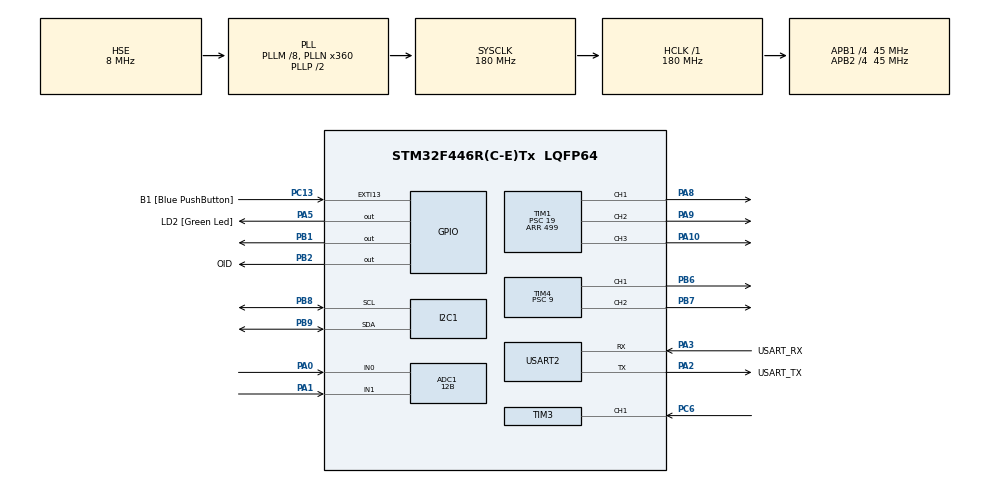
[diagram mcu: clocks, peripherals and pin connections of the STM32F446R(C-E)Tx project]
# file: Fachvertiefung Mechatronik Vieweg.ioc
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Mcu.Family=STM32F4
PH0-OSC_IN.Signal=RCC_OSC_IN
RCC.CortexFreq_Value=180000000
NVIC.I2C1_EV_IRQn=true\:0\:0\:false\:false\:true\:true\:true
ADC1.ContinuousConvMode=ENABLE
Dma.I2C1_TX.1.Mode=DMA_NORMAL
PA14.GPIO_Label=TCK
PC13.GPIO_Label=B1 [Blue PushButton]
RCC.SYSCLKSource=RCC_SYSCLKSOURCE_PLLCLK
ProjectManager.StackSize=0x400
Dma.I2C1_TX.1.Direction=DMA_MEMORY_TO_PERIPH
NVIC.ADC_IRQn=true\:0\:0\:false\:false\:true\:true\:true
TIM1.Prescaler=19
RCC.HCLKFreq_Value=180000000
ADC1.Resolution=ADC_RESOLUTION_12B
RCC.APB2TimFreq_Value=90000000
TIM3.Period=59999
PB6.Signal=S_TIM4_CH1
ADC1.InjNumberOfConversion=0
Dma.I2C1_RX.0.PeriphDataAlignment=DMA_PDATAALIGN_BYTE
Dma.I2C1_TX.1.PeriphInc=DMA_PINC_DISABLE
NVIC.DMA2_Stream0_IRQn=true\:0\:0\:false\:false\:true\:false\:true
RCC.AHBFreq_Value=180000000
PH0-OSC_IN.Mode=HSE-External-Oscillator
Dma.I2C1_RX.0.Priority=DMA_PRIORITY_LOW
ADC1.Channel-0\#ChannelRegularConversion=ADC_CHANNEL_0
RCC.HSE_VALUE=8000000
TIM3.Channel-Input_Capture1_from_TI1=TIM_CHANNEL_1
PB2.Signal=GPIO_Output
ADC1.ScanConvMode=ENABLE
Dma.I2C1_RX.0.Mode=DMA_NORMAL
Dma.ADC1.2.MemDataAlignment=DMA_MDATAALIGN_WORD
PC14-OSC32_IN.Mode=LSE-External-Oscillator
TIM1.Channel-PWM\ Generation1\ CH1=TIM_CHANNEL_1
PA14.Mode=Serial_Wire
TIM3.Prescaler=2999
Dma.ADC1.2.Direction=DMA_PERIPH_TO_MEMORY
SH.S_TIM4_CH2.0=TIM4_CH2,PWM Generation2 CH2
PB7.Signal=S_TIM4_CH2
PA8.Signal=S_TIM1_CH1
SH.ADCx_IN0.0=ADC1_IN0,IN0
Dma.I2C1_RX.0.Direction=DMA_PERIPH_TO_MEMORY
SH.S_TIM3_CH1.0=TIM3_CH1,Input_Capture1_from_TI1
TIM4.Period=499
NVIC.I2C1_ER_IRQn=true\:0\:0\:false\:false\:true\:true\:true
VP_TIM1_VS_ClockSourceINT.Mode=Internal
ADC1.SamplingTime-0\#ChannelRegularConversion=ADC_SAMPLETIME_15CYCLES
RCC.FLatency-AdvancedSettings=FLASH_LATENCY_5
PH1-OSC_OUT.Mode=HSE-External-Oscillator
PB9.Signal=I2C1_SDA
Mcu.Package=LQFP64
PB1.Signal=GPIO_Output
USART2.VirtualMode=VM_ASYNC
PA2.GPIO_Label=USART_TX
PA10.Signal=S_TIM1_CH3
TIM8.Prescaler=199
RCC.APB2CLKDivider=RCC_HCLK_DIV4
SH.ADCx_IN1.0=ADC1_IN1,IN1
SH.S_TIM4_CH1.0=TIM4_CH1,PWM Generation1 CH1
Dma.Request2=ADC1
Dma.Request1=I2C1_TX
RCC.APB1TimFreq_Value=90000000
NVIC.DMA1_Stream0_IRQn=true\:0\:0\:false\:false\:true\:false\:true
TIM1.Period=499
Dma.Request0=I2C1_RX
NVIC.DMA1_Stream6_IRQn=true\:0\:0\:false\:false\:true\:false\:true
ADC1.EOCSelection=ADC_EOC_SEQ_CONV
Dma.ADC1.2.Mode=DMA_CIRCULAR
PA3.Signal=USART2_RX
PB3.GPIO_Label=SWO
Dma.I2C1_TX.1.PeriphDataAlignment=DMA_PDATAALIGN_BYTE
RCC.PLLSourceVirtual=RCC_PLLSOURCE_HSE
TIM4.Channel-PWM\ Generation1\ CH1=TIM_CHANNEL_1
PC15-OSC32_OUT.Mode=LSE-External-Oscillator
Dma.I2C1_RX.0.PeriphInc=DMA_PINC_DISABLE
Dma.I2C1_RX.0.MemDataAlignment=DMA_MDATAALIGN_BYTE
ADC1.Rank-0\#ChannelRegularConversion=1
PC13.Signal=GPXTI13
Dma.ADC1.2.PeriphDataAlignment=DMA_PDATAALIGN_WORD
PC6.Signal=S_TIM3_CH1
ADC1.DiscontinuousConvMode=DISABLE
ADC1.ExternalTrigConvEdge=ADC_EXTERNALTRIGCONVEDGE_NONE
RCC.APB1CLKDivider=RCC_HCLK_DIV4
PC14-OSC32_IN.Signal=RCC_OSC32_IN
PA0-WKUP.Signal=ADCx_IN0
PA3.Mode=Asynchronous
PA13.Signal=SYS_JTMS-SWDIO
Dma.ADC1.2.MemInc=DMA_MINC_ENABLE
SH.S_TIM1_CH1.0=TIM1_CH1,PWM Generation1 CH1
ProjectManager.TargetToolchain=STM32CubeIDE
I2C1.I2C_Mode=I2C_Fast
PB9.Mode=I2C
PA9.Signal=S_TIM1_CH2
ADC1.Channel-1\#ChannelRegularConversion=ADC_CHANNEL_1
TIM1.Channel-PWM\ Generation2\ CH2=TIM_CHANNEL_2
Dma.I2C1_RX.0.MemInc=DMA_MINC_ENABLE
Dma.I2C1_TX.1.Instance=DMA1_Stream6
VP_TIM8_VS_ClockSourceINT.Mode=Internal
RCC.USBFreq_Value=180000000
TIM4.Prescaler=9
PC15-OSC32_OUT.Signal=RCC_OSC32_OUT
PA1.Signal=ADCx_IN1
PA5.Signal=GPIO_Output
board=NUCLEO-F446RE
RCC.VCOOutputFreq_Value=360000000
Dma.I2C1_TX.1.Priority=DMA_PRIORITY_LOW
NVIC.TIM3_IRQn=true\:0\:0\:false\:false\:true\:true\:true
ADC1.EnableAnalogWatchDog=false
Dma.I2C1_TX.1.FIFOMode=DMA_FIFOMODE_DISABLE
TIM4.Channel-PWM\ Generation2\ CH2=TIM_CHANNEL_2
RCC.APB2Freq_Value=45000000
SH.S_TIM1_CH2.0=TIM1_CH2,PWM Generation2 CH2
Dma.I2C1_TX.1.MemInc=DMA_MINC_ENABLE
TIM3.ICPolarity_CH1=TIM_INPUTCHANNELPOLARITY_FALLING
PH1-OSC_OUT.Signal=RCC_OSC_OUT
Dma.I2C1_TX.1.MemDataAlignment=DMA_MDATAALIGN_BYTE
ADC1.DMAContinuousRequests=ENABLE
ADC1.NbrOfConversion=2
PA13.Mode=Serial_Wire
Mcu.Name=STM32F446R(C-E)Tx
PA2.Signal=USART2_TX
PA13.GPIO_Label=TMS
Dma.ADC1.2.Instance=DMA2_Stream0
ADC1.ExternalTrigConv=ADC_SOFTWARE_START
TIM8.Period=4000
RCC.48MHZClocksFreq_Value=84000000
PB3.Signal=SYS_JTDO-SWO
ADC1.SamplingTime-1\#ChannelRegularConversion=ADC_SAMPLETIME_15CYCLES
RCC.SYSCLKFreq_VALUE=180000000
Dma.ADC1.2.Priority=DMA_PRIORITY_LOW
ADC1.master=1
PA5.GPIO_Label=LD2 [Green Led]
Dma.ADC1.2.PeriphInc=DMA_PINC_DISABLE
PC13.GPIO_ModeDefaultEXTI=GPIO_MODE_IT_FALLING
ADC1.Rank-1\#ChannelRegularConversion=2
PA14.Signal=SYS_JTCK-SWCLK
PB2.GPIO_Label=OID
ProjectManager.HeapSize=0x200
Dma.I2C1_RX.0.FIFOMode=DMA_FIFOMODE_DISABLE
Dma.ADC1.2.FIFOMode=DMA_FIFOMODE_DISABLE
SH.S_TIM1_CH3.0=TIM1_CH3,PWM Generation3 CH3
RCC.HSI_VALUE=16000000
NVIC.TIM8_UP_TIM13_IRQn=true\:0\:0\:false\:false\:true\:true\:true
VP_TIM4_VS_ClockSourceINT.Mode=Internal
NVIC.PriorityGroup=NVIC_PRIORITYGROUP_0
ADC1.NbrOfConversionFlag=1
RCC.PLLM=8
PB8.Mode=I2C
RCC.PLLN=360
PA2.Mode=Asynchronous
PB8.Signal=I2C1_SCL
TIM1.Channel-PWM\ Generation3\ CH3=TIM_CHANNEL_3
NVIC.TIM4_IRQn=true\:0\:0\:false\:false\:true\:true\:true
RCC.APB1Freq_Value=45000000
ADC1.ClockPrescaler=ADC_CLOCK_SYNC_PCLK_DIV4
Dma.I2C1_RX.0.Instance=DMA1_Stream0
PA3.GPIO_Label=USART_RX

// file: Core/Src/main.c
/* USER CODE BEGIN Header */
/**
  ******************************************************************************
  * @file           : main.c
  * @brief          : Main program body
  ******************************************************************************
  * @attention
  *
  * <h2><center>&copy; Copyright (c) 2021 STMicroelectronics.
  * All rights reserved.</center></h2>
  *
  * This software component is licensed by ST under BSD 3-Clause license,
  * the "License"; You may not use this file except in compliance with the
  * License. You may obtain a copy of the License at:
  *                        opensource.org/licenses/BSD-3-Clause
  *
  ******************************************************************************
  */
/* USER CODE END Header */
#include "main.h"

/* USER CODE BEGIN Includes */
#include "board_utils.h"
#include <string.h>
#include <stdarg.h>
#include <stdio.h>
#include "stm32_tm1637.h"
/* USER CODE END Includes */

ADC_HandleTypeDef hadc1;
DMA_HandleTypeDef hdma_adc1;

I2C_HandleTypeDef hi2c1;
DMA_HandleTypeDef hdma_i2c1_rx;
DMA_HandleTypeDef hdma_i2c1_tx;

TIM_HandleTypeDef htim1;
TIM_HandleTypeDef htim3;
TIM_HandleTypeDef htim4;
TIM_HandleTypeDef htim8;

UART_HandleTypeDef huart2;

void SystemClock_Config(void);
static void MX_GPIO_Init(void);
static void MX_DMA_Init(void);
static void MX_USART2_UART_Init(void);
static void MX_ADC1_Init(void);
static void MX_TIM1_Init(void);
static void MX_TIM3_Init(void);
static void MX_TIM4_Init(void);
static void MX_TIM8_Init(void);
static void MX_I2C1_Init(void);

/* USER CODE BEGIN 0 */
uint32_t adc_values[2];
uint32_t timeDiffs[5] = {0};
int timeDiffsIndex = 0;
uint32_t rotationsPerMinute = 0;

void HAL_TIM_IC_CaptureCallback(TIM_HandleTypeDef *htim3)
{
	static int firstCaptured = 0;
	static uint32_t firstTimeStamp = 0;
	static uint32_t secondTimeStamp = 0;

	if (firstCaptured == 0) {
		firstTimeStamp = HAL_TIM_ReadCapturedValue(htim3, TIM_CHANNEL_1);
		firstCaptured = 1;
	}
	else {
		secondTimeStamp = HAL_TIM_ReadCapturedValue(htim3, TIM_CHANNEL_1);

		int timeDiff = (secondTimeStamp - firstTimeStamp) % TIM3->ARR;

		if (secondTimeStamp >= firstTimeStamp) {
			timeDiff = secondTimeStamp - firstTimeStamp;
		}
		else {
			timeDiff = TIM3->ARR + secondTimeStamp - firstTimeStamp;
		}

		timeDiffs[timeDiffsIndex % 5] = timeDiff;
		timeDiffsIndex++;

		firstCaptured = 0;
	}
}
/* USER CODE END 0 */

int main(void)
{
  /* USER CODE BEGIN 1 */
  #ifdef BOARD_UTILITIES_IN_USE
 	  system_init();
  #endif
  /* USER CODE END 1 */

  /* MCU Configuration--------------------------------------------------------*/

  /* Reset of all peripherals, Initializes the Flash interface and the Systick. */
  HAL_Init();

  /* Configure the system clock */
  SystemClock_Config();

  /* Initialize all configured peripherals */
  MX_GPIO_Init();
  MX_DMA_Init();
  MX_USART2_UART_Init();
  MX_ADC1_Init();
  MX_TIM1_Init();
  MX_TIM3_Init();
  MX_TIM4_Init();
  MX_TIM8_Init();
  MX_I2C1_Init();
  /* USER CODE BEGIN 2 */

  HAL_ADC_Start_DMA(&hadc1, adc_values, 2);

  // Starting the PWM signals for the BLDC

  HAL_TIM_PWM_Start(&htim1, TIM_CHANNEL_1);
  HAL_TIM_PWM_Start(&htim1, TIM_CHANNEL_2);
  HAL_TIM_PWM_Start(&htim1, TIM_CHANNEL_3);
  HAL_TIM_Base_Start_IT(&htim8);

  // Starting the PWM signals for the actuator arm

  HAL_TIM_PWM_Start(&htim4, TIM_CHANNEL_1);
  HAL_TIM_PWM_Start(&htim4, TIM_CHANNEL_2);
  HAL_TIM_Base_Start_IT(&htim4);

  // Starting tim3 for magnet sensor
  HAL_TIM_IC_Start_IT(&htim3, TIM_CHANNEL_1);
  __HAL_TIM_ENABLE_IT(&htim3, TIM_IT_UPDATE );

  // Start segment display
  tm1637Init();

  int ii = 0;

  #ifdef BOARD_FRAM_IN_USE
    fram_init();
  #endif

  /* USER CODE END 2 */

  /* Infinite loop */
  /* USER CODE BEGIN WHILE */
  while (1)
  {
	oprintf( "%ld: \t ADC-Value1:%ld \t ADC-Value2: %ld \t Drehzahl : %ld U/min \r\n", ii, adc_values[0], adc_values[1], rotationsPerMinute + 1);
	tm1637DisplayDecimal((int) rotationsPerMinute + 1, 0);

	ii++;

	HAL_Delay(1000);

    /* USER CODE END WHILE */

  }
}

void SystemClock_Config(void)
{
  RCC_OscInitTypeDef RCC_OscInitStruct = {0};
  RCC_ClkInitTypeDef RCC_ClkInitStruct = {0};

  /** Configure the main internal regulator output voltage
  */
  __HAL_RCC_PWR_CLK_ENABLE();
  __HAL_PWR_VOLTAGESCALING_CONFIG(PWR_REGULATOR_VOLTAGE_SCALE1);
  /** Initializes the RCC Oscillators according to the specified parameters
  * in the RCC_OscInitTypeDef structure.
  */
  RCC_OscInitStruct.OscillatorType = RCC_OSCILLATORTYPE_HSE;
  RCC_OscInitStruct.HSEState = RCC_HSE_ON;
  RCC_OscInitStruct.PLL.PLLState = RCC_PLL_ON;
  RCC_OscInitStruct.PLL.PLLSource = RCC_PLLSOURCE_HSE;
  RCC_OscInitStruct.PLL.PLLM = 8;
  RCC_OscInitStruct.PLL.PLLN = 360;
  RCC_OscInitStruct.PLL.PLLP = RCC_PLLP_DIV2;
  RCC_OscInitStruct.PLL.PLLQ = 2;
  RCC_OscInitStruct.PLL.PLLR = 2;
  if (HAL_RCC_OscConfig(&RCC_OscInitStruct) != HAL_OK)
  {
    Error_Handler();
  }
  /** Activate the Over-Drive mode
  */
  if (HAL_PWREx_EnableOverDrive() != HAL_OK)
  {
    Error_Handler();
  }
  /** Initializes the CPU, AHB and APB buses clocks
  */
  RCC_ClkInitStruct.ClockType = RCC_CLOCKTYPE_HCLK|RCC_CLOCKTYPE_SYSCLK
                              |RCC_CLOCKTYPE_PCLK1|RCC_CLOCKTYPE_PCLK2;
  RCC_ClkInitStruct.SYSCLKSource = RCC_SYSCLKSOURCE_PLLCLK;
  RCC_ClkInitStruct.AHBCLKDivider = RCC_SYSCLK_DIV1;
  RCC_ClkInitStruct.APB1CLKDivider = RCC_HCLK_DIV4;
  RCC_ClkInitStruct.APB2CLKDivider = RCC_HCLK_DIV4;

  if (HAL_RCC_ClockConfig(&RCC_ClkInitStruct, FLASH_LATENCY_5) != HAL_OK)
  {
    Error_Handler();
  }
}

static void MX_ADC1_Init(void)
{

  ADC_ChannelConfTypeDef sConfig = {0};

  /** Configure the global features of the ADC (Clock, Resolution, Data Alignment and number of conversion)
  */
  hadc1.Instance = ADC1;
  hadc1.Init.ClockPrescaler = ADC_CLOCK_SYNC_PCLK_DIV4;
  hadc1.Init.Resolution = ADC_RESOLUTION_12B;
  hadc1.Init.ScanConvMode = ENABLE;
  hadc1.Init.ContinuousConvMode = ENABLE;
  hadc1.Init.DiscontinuousConvMode = DISABLE;
  hadc1.Init.ExternalTrigConvEdge = ADC_EXTERNALTRIGCONVEDGE_NONE;
  hadc1.Init.ExternalTrigConv = ADC_SOFTWARE_START;
  hadc1.Init.DataAlign = ADC_DATAALIGN_RIGHT;
  hadc1.Init.NbrOfConversion = 2;
  hadc1.Init.DMAContinuousRequests = ENABLE;
  hadc1.Init.EOCSelection = ADC_EOC_SEQ_CONV;
  if (HAL_ADC_Init(&hadc1) != HAL_OK)
  {
    Error_Handler();
  }
  /** Configure for the selected ADC regular channel its corresponding rank in the sequencer and its sample time.
  */
  sConfig.Channel = ADC_CHANNEL_0;
  sConfig.Rank = 1;
  sConfig.SamplingTime = ADC_SAMPLETIME_15CYCLES;
  if (HAL_ADC_ConfigChannel(&hadc1, &sConfig) != HAL_OK)
  {
    Error_Handler();
  }
  /** Configure for the selected ADC regular channel its corresponding rank in the sequencer and its sample time.
  */
  sConfig.Channel = ADC_CHANNEL_1;
  sConfig.Rank = 2;
  if (HAL_ADC_ConfigChannel(&hadc1, &sConfig) != HAL_OK)
  {
    Error_Handler();
  }

}

static void MX_I2C1_Init(void)
{

  hi2c1.Instance = I2C1;
  hi2c1.Init.ClockSpeed = 400000;
  hi2c1.Init.DutyCycle = I2C_DUTYCYCLE_2;
  hi2c1.Init.OwnAddress1 = 0;
  hi2c1.Init.AddressingMode = I2C_ADDRESSINGMODE_7BIT;
  hi2c1.Init.DualAddressMode = I2C_DUALADDRESS_DISABLE;
  hi2c1.Init.OwnAddress2 = 0;
  hi2c1.Init.GeneralCallMode = I2C_GENERALCALL_DISABLE;
  hi2c1.Init.NoStretchMode = I2C_NOSTRETCH_DISABLE;
  if (HAL_I2C_Init(&hi2c1) != HAL_OK)
  {
    Error_Handler();
  }

}

static void MX_TIM1_Init(void)
{

  TIM_ClockConfigTypeDef sClockSourceConfig = {0};
  TIM_MasterConfigTypeDef sMasterConfig = {0};
  TIM_OC_InitTypeDef sConfigOC = {0};
  TIM_BreakDeadTimeConfigTypeDef sBreakDeadTimeConfig = {0};

  htim1.Instance = TIM1;
  htim1.Init.Prescaler = 19;
  htim1.Init.CounterMode = TIM_COUNTERMODE_UP;
  htim1.Init.Period = 499;
  htim1.Init.ClockDivision = TIM_CLOCKDIVISION_DIV1;
  htim1.Init.RepetitionCounter = 0;
  htim1.Init.AutoReloadPreload = TIM_AUTORELOAD_PRELOAD_DISABLE;
  if (HAL_TIM_Base_Init(&htim1) != HAL_OK)
  {
    Error_Handler();
  }
  sClockSourceConfig.ClockSource = TIM_CLOCKSOURCE_INTERNAL;
  if (HAL_TIM_ConfigClockSource(&htim1, &sClockSourceConfig) != HAL_OK)
  {
    Error_Handler();
  }
  if (HAL_TIM_PWM_Init(&htim1) != HAL_OK)
  {
    Error_Handler();
  }
  sMasterConfig.MasterOutputTrigger = TIM_TRGO_RESET;
  sMasterConfig.MasterSlaveMode = TIM_MASTERSLAVEMODE_DISABLE;
  if (HAL_TIMEx_MasterConfigSynchronization(&htim1, &sMasterConfig) != HAL_OK)
  {
    Error_Handler();
  }
  sConfigOC.OCMode = TIM_OCMODE_PWM1;
  sConfigOC.Pulse = 0;
  sConfigOC.OCPolarity = TIM_OCPOLARITY_HIGH;
  sConfigOC.OCNPolarity = TIM_OCNPOLARITY_HIGH;
  sConfigOC.OCFastMode = TIM_OCFAST_DISABLE;
  sConfigOC.OCIdleState = TIM_OCIDLESTATE_RESET;
  sConfigOC.OCNIdleState = TIM_OCNIDLESTATE_RESET;
  if (HAL_TIM_PWM_ConfigChannel(&htim1, &sConfigOC, TIM_CHANNEL_1) != HAL_OK)
  {
    Error_Handler();
  }
  if (HAL_TIM_PWM_ConfigChannel(&htim1, &sConfigOC, TIM_CHANNEL_2) != HAL_OK)
  {
    Error_Handler();
  }
  if (HAL_TIM_PWM_ConfigChannel(&htim1, &sConfigOC, TIM_CHANNEL_3) != HAL_OK)
  {
    Error_Handler();
  }
  sBreakDeadTimeConfig.OffStateRunMode = TIM_OSSR_DISABLE;
  sBreakDeadTimeConfig.OffStateIDLEMode = TIM_OSSI_DISABLE;
  sBreakDeadTimeConfig.LockLevel = TIM_LOCKLEVEL_OFF;
  sBreakDeadTimeConfig.DeadTime = 0;
  sBreakDeadTimeConfig.BreakState = TIM_BREAK_DISABLE;
  sBreakDeadTimeConfig.BreakPolarity = TIM_BREAKPOLARITY_HIGH;
  sBreakDeadTimeConfig.AutomaticOutput = TIM_AUTOMATICOUTPUT_DISABLE;
  if (HAL_TIMEx_ConfigBreakDeadTime(&htim1, &sBreakDeadTimeConfig) != HAL_OK)
  {
    Error_Handler();
  }
  HAL_TIM_MspPostInit(&htim1);

}

static void MX_TIM3_Init(void)
{

  TIM_MasterConfigTypeDef sMasterConfig = {0};
  TIM_IC_InitTypeDef sConfigIC = {0};

  htim3.Instance = TIM3;
  htim3.Init.Prescaler = 2999;
  htim3.Init.CounterMode = TIM_COUNTERMODE_UP;
  htim3.Init.Period = 59999;
  htim3.Init.ClockDivision = TIM_CLOCKDIVISION_DIV1;
  htim3.Init.AutoReloadPreload = TIM_AUTORELOAD_PRELOAD_DISABLE;
  if (HAL_TIM_IC_Init(&htim3) != HAL_OK)
  {
    Error_Handler();
  }
  sMasterConfig.MasterOutputTrigger = TIM_TRGO_RESET;
  sMasterConfig.MasterSlaveMode = TIM_MASTERSLAVEMODE_DISABLE;
  if (HAL_TIMEx_MasterConfigSynchronization(&htim3, &sMasterConfig) != HAL_OK)
  {
    Error_Handler();
  }
  sConfigIC.ICPolarity = TIM_INPUTCHANNELPOLARITY_FALLING;
  sConfigIC.ICSelection = TIM_ICSELECTION_DIRECTTI;
  sConfigIC.ICPrescaler = TIM_ICPSC_DIV1;
  sConfigIC.ICFilter = 0;
  if (HAL_TIM_IC_ConfigChannel(&htim3, &sConfigIC, TIM_CHANNEL_1) != HAL_OK)
  {
    Error_Handler();
  }

}

static void MX_TIM4_Init(void)
{

  TIM_ClockConfigTypeDef sClockSourceConfig = {0};
  TIM_MasterConfigTypeDef sMasterConfig = {0};
  TIM_OC_InitTypeDef sConfigOC = {0};

  htim4.Instance = TIM4;
  htim4.Init.Prescaler = 9;
  htim4.Init.CounterMode = TIM_COUNTERMODE_UP;
  htim4.Init.Period = 499;
  htim4.Init.ClockDivision = TIM_CLOCKDIVISION_DIV1;
  htim4.Init.AutoReloadPreload = TIM_AUTORELOAD_PRELOAD_DISABLE;
  if (HAL_TIM_Base_Init(&htim4) != HAL_OK)
  {
    Error_Handler();
  }
  sClockSourceConfig.ClockSource = TIM_CLOCKSOURCE_INTERNAL;
  if (HAL_TIM_ConfigClockSource(&htim4, &sClockSourceConfig) != HAL_OK)
  {
    Error_Handler();
  }
  if (HAL_TIM_PWM_Init(&htim4) != HAL_OK)
  {
    Error_Handler();
  }
  sMasterConfig.MasterOutputTrigger = TIM_TRGO_RESET;
  sMasterConfig.MasterSlaveMode = TIM_MASTERSLAVEMODE_DISABLE;
  if (HAL_TIMEx_MasterConfigSynchronization(&htim4, &sMasterConfig) != HAL_OK)
  {
    Error_Handler();
  }
  sConfigOC.OCMode = TIM_OCMODE_PWM1;
  sConfigOC.Pulse = 0;
  sConfigOC.OCPolarity = TIM_OCPOLARITY_HIGH;
  sConfigOC.OCFastMode = TIM_OCFAST_DISABLE;
  if (HAL_TIM_PWM_ConfigChannel(&htim4, &sConfigOC, TIM_CHANNEL_1) != HAL_OK)
  {
    Error_Handler();
  }
  if (HAL_TIM_PWM_ConfigChannel(&htim4, &sConfigOC, TIM_CHANNEL_2) != HAL_OK)
  {
    Error_Handler();
  }
  HAL_TIM_MspPostInit(&htim4);

}

static void MX_TIM8_Init(void)
{

  TIM_ClockConfigTypeDef sClockSourceConfig = {0};
  TIM_MasterConfigTypeDef sMasterConfig = {0};

  htim8.Instance = TIM8;
  htim8.Init.Prescaler = 199;
  htim8.Init.CounterMode = TIM_COUNTERMODE_UP;
  htim8.Init.Period = 4000;
  htim8.Init.ClockDivision = TIM_CLOCKDIVISION_DIV1;
  htim8.Init.RepetitionCounter = 0;
  htim8.Init.AutoReloadPreload = TIM_AUTORELOAD_PRELOAD_DISABLE;
  if (HAL_TIM_Base_Init(&htim8) != HAL_OK)
  {
    Error_Handler();
  }
  sClockSourceConfig.ClockSource = TIM_CLOCKSOURCE_INTERNAL;
  if (HAL_TIM_ConfigClockSource(&htim8, &sClockSourceConfig) != HAL_OK)
  {
    Error_Handler();
  }
  sMasterConfig.MasterOutputTrigger = TIM_TRGO_RESET;
  sMasterConfig.MasterSlaveMode = TIM_MASTERSLAVEMODE_DISABLE;
  if (HAL_TIMEx_MasterConfigSynchronization(&htim8, &sMasterConfig) != HAL_OK)
  {
    Error_Handler();
  }

}

static void MX_USART2_UART_Init(void)
{

  huart2.Instance = USART2;
  huart2.Init.BaudRate = 115200;
  huart2.Init.WordLength = UART_WORDLENGTH_8B;
  huart2.Init.StopBits = UART_STOPBITS_1;
  huart2.Init.Parity = UART_PARITY_NONE;
  huart2.Init.Mode = UART_MODE_TX_RX;
  huart2.Init.HwFlowCtl = UART_HWCONTROL_NONE;
  huart2.Init.OverSampling = UART_OVERSAMPLING_16;
  if (HAL_UART_Init(&huart2) != HAL_OK)
  {
    Error_Handler();
  }

}

static void MX_DMA_Init(void)
{

  /* DMA controller clock enable */
  __HAL_RCC_DMA1_CLK_ENABLE();
  __HAL_RCC_DMA2_CLK_ENABLE();

  /* DMA interrupt init */
  /* DMA1_Stream0_IRQn interrupt configuration */
  HAL_NVIC_SetPriority(DMA1_Stream0_IRQn, 0, 0);
  HAL_NVIC_EnableIRQ(DMA1_Stream0_IRQn);
  /* DMA1_Stream6_IRQn interrupt configuration */
  HAL_NVIC_SetPriority(DMA1_Stream6_IRQn, 0, 0);
  HAL_NVIC_EnableIRQ(DMA1_Stream6_IRQn);
  /* DMA2_Stream0_IRQn interrupt configuration */
  HAL_NVIC_SetPriority(DMA2_Stream0_IRQn, 0, 0);
  HAL_NVIC_EnableIRQ(DMA2_Stream0_IRQn);

}

static void MX_GPIO_Init(void)
{
  GPIO_InitTypeDef GPIO_InitStruct = {0};

  /* GPIO Ports Clock Enable */
  __HAL_RCC_GPIOC_CLK_ENABLE();
  __HAL_RCC_GPIOH_CLK_ENABLE();
  __HAL_RCC_GPIOA_CLK_ENABLE();
  __HAL_RCC_GPIOB_CLK_ENABLE();

  /*Configure GPIO pin Output Level */
  HAL_GPIO_WritePin(LD2_GPIO_Port, LD2_Pin, GPIO_PIN_RESET);

  /*Configure GPIO pin Output Level */
  HAL_GPIO_WritePin(GPIOB, GPIO_PIN_1|OID_Pin, GPIO_PIN_RESET);

  /*Configure GPIO pin : B1_Pin */
  GPIO_InitStruct.Pin = B1_Pin;
  GPIO_InitStruct.Mode = GPIO_MODE_IT_FALLING;
  GPIO_InitStruct.Pull = GPIO_NOPULL;
  HAL_GPIO_Init(B1_GPIO_Port, &GPIO_InitStruct);

  /*Configure GPIO pin : LD2_Pin */
  GPIO_InitStruct.Pin = LD2_Pin;
  GPIO_InitStruct.Mode = GPIO_MODE_OUTPUT_PP;
  GPIO_InitStruct.Pull = GPIO_NOPULL;
  GPIO_InitStruct.Speed = GPIO_SPEED_FREQ_LOW;
  HAL_GPIO_Init(LD2_GPIO_Port, &GPIO_InitStruct);

  /*Configure GPIO pins : PB1 OID_Pin */
  GPIO_InitStruct.Pin = GPIO_PIN_1|OID_Pin;
  GPIO_InitStruct.Mode = GPIO_MODE_OUTPUT_PP;
  GPIO_InitStruct.Pull = GPIO_NOPULL;
  GPIO_InitStruct.Speed = GPIO_SPEED_FREQ_LOW;
  HAL_GPIO_Init(GPIOB, &GPIO_InitStruct);

}

/* USER CODE BEGIN 4 */
// Simple own printf for communication via USB-UART
void oprintf(const char *format, ...) {
  int len;
  va_list args;
  va_start(args, format);

  // determine how long the result will be
  len = vsnprintf(NULL, 0, format, args);

  // reserve the string and generate it.
  char tx_buf[len + 1];
  vsprintf(tx_buf, format, args);

  HAL_UART_Transmit(&huart2, (uint8_t*) tx_buf, strlen(tx_buf), 50);

  va_end(args);
}
/* USER CODE END 4 */

void Error_Handler(void)
{
  __disable_irq();
  while (1)
  {
  }
}

/************************ (C) COPYRIGHT STMicroelectronics *****END OF FILE****/
